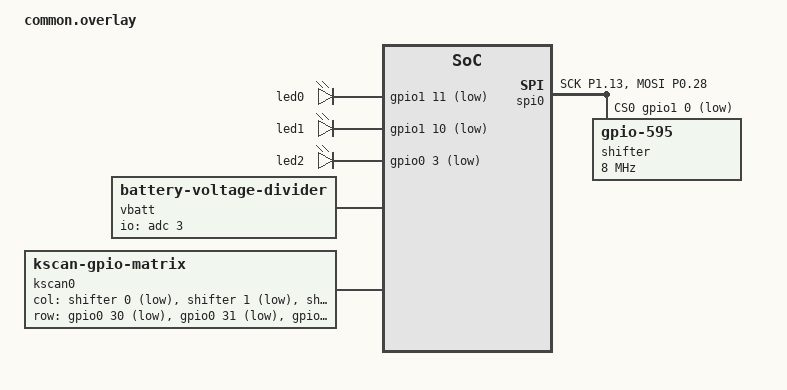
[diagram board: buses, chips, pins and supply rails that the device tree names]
&pinctrl {
    spi0_default: spi0_default {
        group1 {
            psels = <NRF_PSEL(SPIM_SCK, 1, 13)>,
                    <NRF_PSEL(SPIM_MOSI, 0, 28)>;
        };
    };

    spi0_sleep: spi0_sleep {
        group1 {
            psels = <NRF_PSEL(SPIM_SCK, 1, 13)>,
                    <NRF_PSEL(SPIM_MOSI, 0, 28)>;
            low-power-enable;
        };
    };
};

&spi0 {
    compatible = "nordic,nrf-spim";
    pinctrl-0 = <&spi0_default>;
    pinctrl-1 = <&spi0_sleep>;
    pinctrl-names = "default", "sleep";
    status = "okay";
    cs-gpios = <&gpio1 0 GPIO_ACTIVE_LOW>;

    shifter: 595@0 {
        compatible = "zmk,gpio-595";
        status = "okay";
        gpio-controller;
        spi-max-frequency = <8000000>;
        reg = <0>;
        #gpio-cells = <2>;
        ngpios = <16>;
    };
};

/ {
    aliases {
        indicator-r = &led0;
        indicator-g = &led1;
        indicator-b = &led2;
    };

    leds {
        compatible = "gpio-leds";
        status = "okay";

        led0: led_0 { gpios = <&gpio1 11 GPIO_ACTIVE_LOW>; };
        led1: led_1 { gpios = <&gpio1 10 GPIO_ACTIVE_LOW>; };
        led2: led_2 { gpios = <&gpio0 3 GPIO_ACTIVE_LOW>; };
    };

    chosen {
        zmk,battery = &vbatt;
        zmk,kscan = &kscan0;
    };

    vbatt: vbatt {
        compatible = "zmk,battery-voltage-divider";
        io-channels = <&adc 3>;
        output-ohms = <2000000>;
        full-ohms = <(2000000 + 820000)>;
    };

    kscan0: kscan_keys {
        compatible = "zmk,kscan-gpio-matrix";
        wakeup-source;
        diode-direction = "col2row";
        col-gpios = <&shifter 0 GPIO_ACTIVE_LOW>,
                    <&shifter 1 GPIO_ACTIVE_LOW>,
                    <&shifter 2 GPIO_ACTIVE_LOW>,
                    <&shifter 3 GPIO_ACTIVE_LOW>,
                    <&shifter 4 GPIO_ACTIVE_LOW>,
                    <&shifter 5 GPIO_ACTIVE_LOW>,
                    <&shifter 6 GPIO_ACTIVE_LOW>,
                    <&shifter 7 GPIO_ACTIVE_LOW>,
                    <&shifter 8 GPIO_ACTIVE_LOW>,
                    <&shifter 9 GPIO_ACTIVE_LOW>,
                    <&shifter 10 GPIO_ACTIVE_LOW>,
                    <&shifter 11 GPIO_ACTIVE_LOW>,
                    <&shifter 12 GPIO_ACTIVE_LOW>,
                    <&shifter 13 GPIO_ACTIVE_LOW>;
        row-gpios = <&gpio0 30 (GPIO_ACTIVE_LOW | GPIO_PULL_UP)>,
                    <&gpio0 31 (GPIO_ACTIVE_LOW | GPIO_PULL_UP)>,
                    <&gpio0 29 (GPIO_ACTIVE_LOW | GPIO_PULL_UP)>,
                    <&gpio0 2 (GPIO_ACTIVE_LOW | GPIO_PULL_UP)>,
                    <&gpio0 9 (GPIO_ACTIVE_LOW | GPIO_PULL_UP)>;
    };
};
